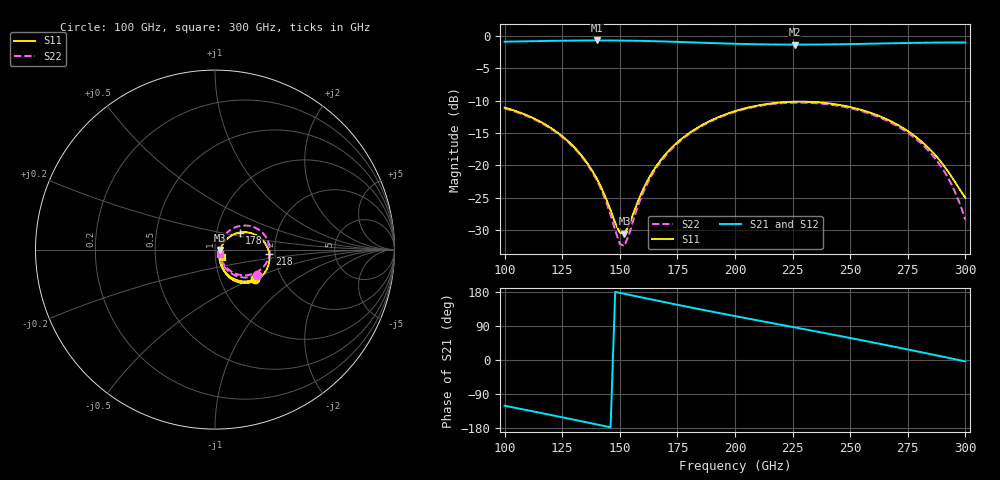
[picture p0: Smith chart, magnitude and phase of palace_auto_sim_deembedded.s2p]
! Created with skrf 1.11.0 (http://scikit-rf.org).
# GHz S DB R 50.0
!freq dBS11 angS11 dBS21 angS21 dBS12 angS12 dBS22 angS22
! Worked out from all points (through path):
!   101 points, 100 GHz to 300 GHz, reference 50 ohm
!   highest |S21| = -0.74 dB at 140 GHz (marker M1); lowest = -1.4 dB at 226 GHz (marker M2)
!   group delay of S21, straight-line fit = 3.35 ps
!   lowest |S11| = -30.5 dB at 152 GHz (marker M3), VSWR 1.06, Z = 53.1 - j0.213 ohm
!   |S11| at or under -10 dB: start of sweep to end of sweep
!   |S22| runs from -32.5 to -10.3 dB; largest |S21 - S12| = 1e-13
!   S11 on the Smith chart (normalised r, x): 100 GHz: 1.46, -0.53; 178 GHz: 1.29, +0.25; 218 GHz: 1.86, -0.11; 300 GHz: 1.08, -0.09
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100  -11.09 -36.7  -0.93 -120.7  -0.93 -120.7  -11.21 -30.6
120  -14.21 -57.2  -0.80 -145.0  -0.80 -145.0  -14.34 -50.4
128  -16.43 -64.2  -0.76 -154.9  -0.76 -154.9  -16.57 -57.4
134  -18.75 -68.0  -0.74 -162.5  -0.74 -162.5  -18.92 -61.4
140  -22.04 -68.2  -0.74 -170.1  -0.74 -170.1  -22.30 -62.5
144  -25.09 -63.1  -0.74 -175.2  -0.74 -175.2  -25.54 -58.6
150  -30.38 -26.8  -0.75 177.2  -0.75 177.2  -32.12 -21.3
152  -30.52 -3.9  -0.76 174.7  -0.76 174.7  -32.46 7.4
160  -23.80 39.0  -0.81 164.5  -0.81 164.5  -24.31 54.2
168  -19.08 41.2  -0.88 154.5  -0.88 154.5  -19.33 55.2
178  -15.57 34.8  -0.99 142.1  -0.99 142.1  -15.73 48.4
188  -13.36 25.8  -1.11 130.0  -1.11 130.0  -13.48 39.4
200  -11.64 14.0  -1.25 115.9  -1.25 115.9  -11.75 27.6
218  -10.36 -4.8  -1.36 95.2  -1.36 95.2  -10.48 9.0
226  -10.18 -13.3  -1.37 86.0  -1.37 86.0  -10.32 0.7
234  -10.23 -21.7  -1.37 76.8  -1.37 76.8  -10.38 -7.6
250  -11.01 -38.3  -1.30 58.1  -1.30 58.1  -11.18 -24.2
268  -13.26 -55.6  -1.17 36.4  -1.17 36.4  -13.48 -42.5
280  -16.03 -64.5  -1.10 21.6  -1.10 21.6  -16.37 -53.5
288  -18.86 -66.6  -1.06 11.6  -1.06 11.6  -19.45 -58.7
294  -21.74 -62.3  -1.05 4.0  -1.05 4.0  -22.96 -58.7
300  -25.01 -45.0  -1.05 -3.7  -1.05 -3.7  -28.40 -45.2
